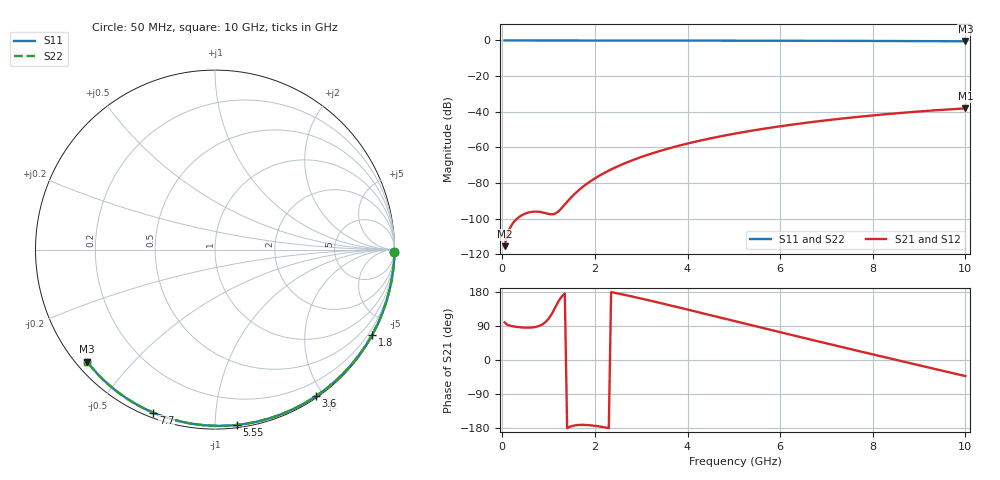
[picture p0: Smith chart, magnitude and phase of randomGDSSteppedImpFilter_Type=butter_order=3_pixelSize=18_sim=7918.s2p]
! freq	dB(S11)	phase(S11)	dB(S12)	phase(S12)
!  dB(S21)	phase(S21)	dB(S22)	phase(S22)
!S-par simulation data
#  GHz  S  DB  R 50
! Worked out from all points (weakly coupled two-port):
!   200 points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, 50 MHz to 10 GHz, reference 50 ohm
!   highest |S21| = -38.15 dB at 10 GHz (marker M1); lowest = -115.5 dB at 50 MHz (marker M2)
!   lowest |S11| = -0.5 dB at 10 GHz (marker M3), VSWR 36.95, Z = 1.55 - j18.8 ohm
!   |S11| at or under -10 dB: nowhere
!   |S22| runs from -0.5 to 0.0 dB; largest |S21 - S12| = 0
!   S11 on the Smith chart (normalised r, x): 50 MHz: open; 1.8 GHz: 0.03, -3.94; 3.6 GHz: 0.02, -1.90; 5.55 GHz: 0.02, -1.13; 7.7 GHz: 0.02, -0.69; 10 GHz: 0.03, -0.38
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0.05  -0.00 -0.8  -115.50 99.3  -115.50 99.3  -0.00 -0.8
0.45  -0.01 -7.2  -97.76 85.7  -97.76 85.7  -0.01 -7.2
0.9  -0.02 -14.4  -96.73 96.7  -96.73 96.7  -0.02 -14.4
1.75  -0.04 -27.7  -81.95 -171.1  -81.95 -171.1  -0.04 -27.7
1.8  -0.04 -28.5  -80.95 -171.3  -80.95 -171.3  -0.04 -28.5
1.85  -0.04 -29.2  -80.01 -171.7  -80.01 -171.7  -0.04 -29.2
2  -0.04 -31.5  -77.43 -173.7  -77.43 -173.7  -0.04 -31.5
2.15  -0.04 -33.9  -75.12 -176.4  -75.12 -176.4  -0.04 -33.9
2.35  -0.05 -36.9  -72.41 179.2  -72.41 179.2  -0.05 -36.9
2.55  -0.05 -40.0  -70.01 174.3  -70.01 174.3  -0.05 -40.0
2.95  -0.06 -46.0  -65.90 163.6  -65.90 163.6  -0.06 -46.0
3.4  -0.07 -52.6  -62.08 150.8  -62.08 150.8  -0.07 -52.7
3.6  -0.07 -55.6  -60.58 144.9  -60.58 144.9  -0.07 -55.6
4.3  -0.09 -65.6  -56.07 124.2  -56.07 124.2  -0.09 -65.7
5.05  -0.12 -76.1  -52.16 101.7  -52.16 101.7  -0.12 -76.1
5.55  -0.14 -82.9  -49.96 86.8  -49.96 86.8  -0.14 -82.9
6.1  -0.16 -90.2  -47.82 70.4  -47.82 70.4  -0.16 -90.2
6.7  -0.19 -98.0  -45.76 52.7  -45.76 52.7  -0.19 -98.0
7.7  -0.25 -110.7  -42.86 23.5  -42.86 23.5  -0.25 -110.7
8.35  -0.30 -118.7  -41.26 4.8  -41.26 4.8  -0.30 -118.7
9.2  -0.38 -129.0  -39.48 -19.6  -39.48 -19.6  -0.38 -129.1
10  -0.47 -138.7  -38.15 -42.4  -38.15 -42.4  -0.47 -138.7
